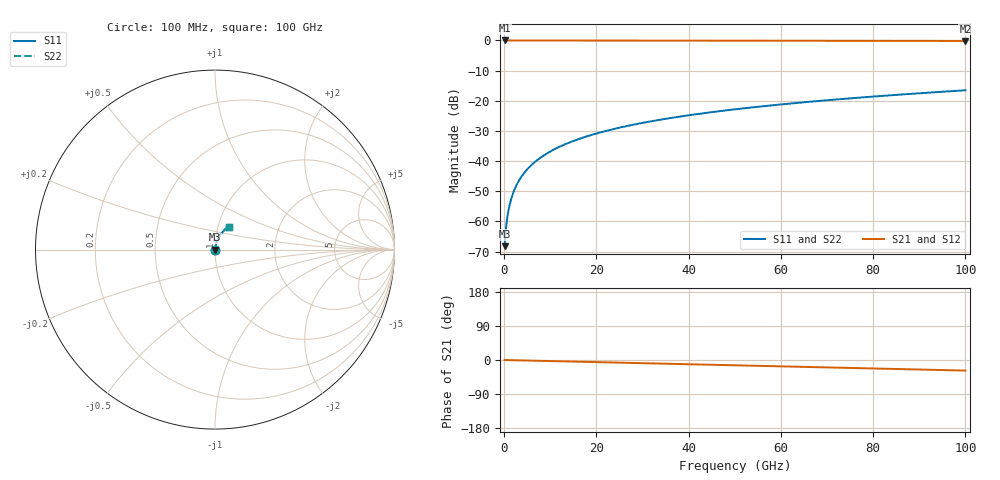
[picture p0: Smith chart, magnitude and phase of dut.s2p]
! Created Wed Jul  8 22:51:18 2026
# hz S ma R 50
! Port[1] Term1
! Port[2] Term2
! 2 Port Network Data from SP1.SP block
! freq  magS11  angS11  magS21  angS21  magS12  angS12  magS22  angS22
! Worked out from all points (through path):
!   1000 points, 100 MHz to 100 GHz, reference 50 ohm
!   highest |S21| = 0.00 dB at 100 MHz (marker M1); lowest = -0.2 dB at 100 GHz (marker M2)
!   group delay of S21, straight-line fit = 775 fs
!   lowest |S11| = -68.2 dB at 100 MHz (marker M3), VSWR 1.00, Z = 50 + j0.0143 ohm
!   |S11| at or under -10 dB: start of sweep to end of sweep
!   |S22| runs from -68.2 to -16.5 dB; largest |S21 - S12| = 0
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1e8  0.0003888 21.5  0.9996 -0.0  0.9996 -0.0  0.0003888 21.5
4e8  0.000773 47.4  0.9995 -0.1  0.9995 -0.1  0.000773 47.4
7e8  0.001187 57.0  0.9994 -0.2  0.9994 -0.2  0.001187 57.0
9e8  0.001468 60.7  0.9993 -0.2  0.9993 -0.2  0.001468 60.7
1.2e9  0.001891 64.5  0.9992 -0.3  0.9992 -0.3  0.001891 64.5
1.6e9  0.002458 67.7  0.9991 -0.4  0.9991 -0.4  0.002458 67.7
2.1e9  0.003168 70.3  0.999 -0.6  0.999 -0.6  0.003168 70.3
2.7e9  0.00402 72.4  0.9988 -0.7  0.9988 -0.7  0.00402 72.4
3.4e9  0.005016 74.1  0.9987 -0.9  0.9987 -0.9  0.005016 74.1
4.3e9  0.006297 75.5  0.9985 -1.2  0.9985 -1.2  0.006297 75.5
5.3e9  0.00772 76.5  0.9984 -1.5  0.9984 -1.5  0.00772 76.5
6.4e9  0.009286 77.3  0.9982 -1.8  0.9982 -1.8  0.009286 77.3
9.2e9  0.01327 78.4  0.9978 -2.5  0.9978 -2.5  0.01327 78.4
1.26e10  0.01812 78.7  0.9974 -3.5  0.9974 -3.5  0.01812 78.7
1.68e10  0.02411 78.6  0.9969 -4.7  0.9969 -4.7  0.02411 78.6
2.42e10  0.03469 77.7  0.996 -6.7  0.996 -6.7  0.03469 77.7
3.34e10  0.04792 76.0  0.9949 -9.3  0.9949 -9.3  0.04792 76.0
4.12e10  0.05922 74.3  0.9938 -11.4  0.9938 -11.4  0.05922 74.3
5.01e10  0.07225 72.2  0.9925 -13.9  0.9925 -13.9  0.07225 72.2
6.67e10  0.09703 68.1  0.9897 -18.5  0.9897 -18.5  0.09703 68.1
8.34e10  0.1227 63.8  0.9861 -23.2  0.9861 -23.2  0.1227 63.8
1e11  0.1492 59.4  0.9819 -27.9  0.9819 -27.9  0.1492 59.4
